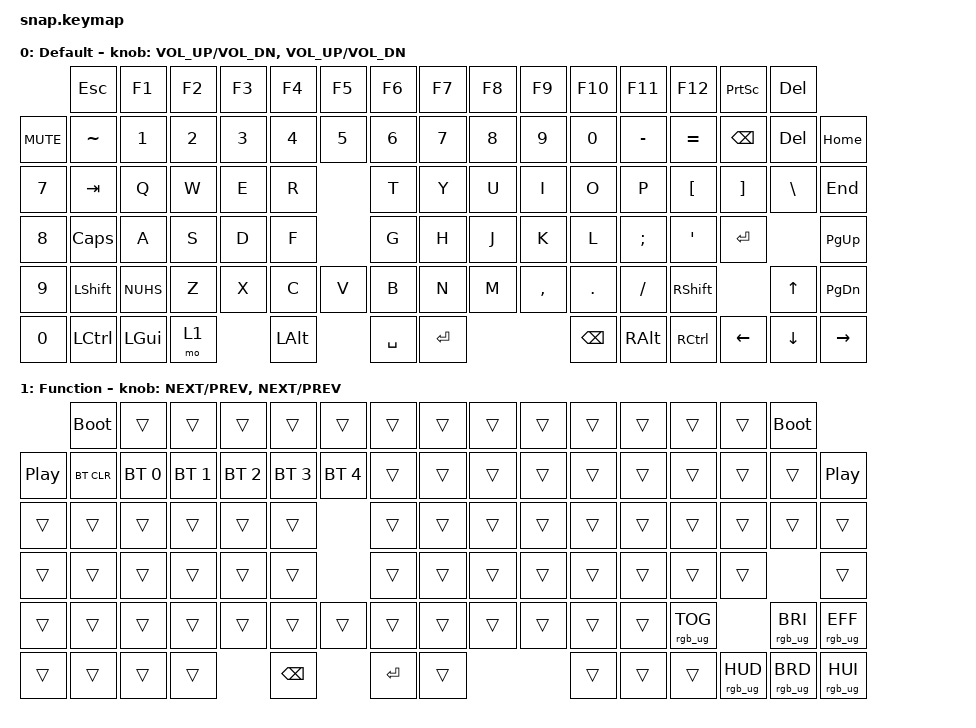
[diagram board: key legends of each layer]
/*
 * Copyright (c) 2022 The ZMK Contributors
 *
 * SPDX-License-Identifier: MIT
 */

#include <behaviors.dtsi>
#include <dt-bindings/zmk/keys.h>
#include <dt-bindings/zmk/rgb.h>
#include <dt-bindings/zmk/rgb.h>
#include <dt-bindings/zmk/bt.h>

/ {
    sensors: sensors {
        compatible = "zmk,keymap-sensors";
        sensors = <&left_encoder &right_encoder>;
        triggers-per-rotation = <20>;
    };

    keymap {
        compatible = "zmk,keymap";

        default_layer {
            display-name = "Default";
            sensor-bindings = <&inc_dec_kp C_VOL_UP C_VOL_DN &inc_dec_kp C_VOL_UP C_VOL_DN>;
            bindings = <
             &kp ESC     &kp F1   &kp F2   &kp F3   &kp F4   &kp F5   &kp F6     &kp F7   &kp F8   &kp F9    &kp F10  &kp F11     &kp F12     &kp PSCRN    &kp DEL
&kp C_MUTE   &kp TILDE   &kp N1   &kp N2   &kp N3   &kp N4   &kp N5   &kp N6     &kp N7   &kp N8   &kp N9    &kp N0   &kp MINUS   &kp EQUAL   &kp BSPC     &kp DEL    &kp HOME
&kp N7       &kp TAB     &kp Q    &kp W    &kp E    &kp R             &kp T      &kp Y    &kp U    &kp I     &kp O    &kp P       &kp LBKT    &kp RBKT     &kp BSLH   &kp END
&kp N8       &kp CLCK    &kp A    &kp S    &kp D    &kp F             &kp G      &kp H    &kp J    &kp K     &kp L    &kp SEMI    &kp SQT     &kp RET                 &kp PG_UP
&kp N9       &kp LSHFT   &kp NUHS &kp Z    &kp X    &kp C    &kp V    &kp B      &kp N    &kp M    &kp COMMA &kp DOT  &kp FSLH    &kp RSHFT                &kp UP     &kp PG_DN
&kp N0      &kp LCTRL   &kp LGUI &mo 1             &kp LALT          &kp SPACE  &kp RET                  &kp BSPC    &kp RALT    &kp RCTRL   &kp LEFT     &kp DOWN   &kp RIGHT
            >;
        };

        function_layer {
            display-name = "Function";
            sensor-bindings = <&inc_dec_kp C_NEXT C_PREV &inc_dec_kp C_NEXT C_PREV>;
            bindings = <
             &bootloader &trans        &trans        &trans        &trans         &trans         &trans   &trans   &trans   &trans   &trans   &trans      &trans      &trans       &bootloader
&kp C_PP     &bt BT_CLR  &bt BT_SEL 0  &bt BT_SEL 1  &bt BT_SEL 2  &bt BT_SEL 3   &bt BT_SEL 4   &trans   &trans   &trans   &trans   &trans   &trans      &trans      &trans       &trans     &kp C_PP
&trans       &trans      &trans        &trans        &trans        &trans                        &trans   &trans   &trans   &trans   &trans   &trans      &trans      &trans       &trans     &trans
&trans       &trans      &trans        &trans        &trans        &trans                        &trans   &trans   &trans   &trans   &trans   &trans      &trans                   &trans     &trans
&trans       &trans      &trans        &trans        &trans        &trans         &trans         &trans   &trans   &trans   &trans   &trans   &trans          &rgb_ug RGB_TOG &rgb_ug RGB_BRI &rgb_ug RGB_EFF
&trans       &trans      &trans        &trans                      &kp BSPC       &kp RET        &trans                     &trans   &trans   &trans  &rgb_ug RGB_HUD &rgb_ug RGB_BRD &rgb_ug RGB_HUI
            >;
        };
    };
};
